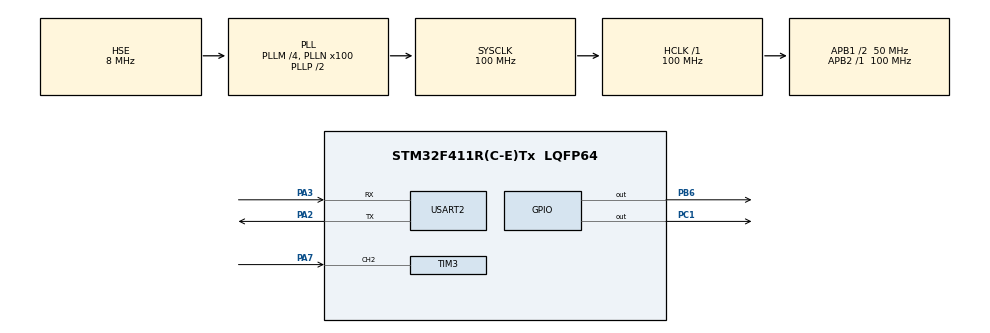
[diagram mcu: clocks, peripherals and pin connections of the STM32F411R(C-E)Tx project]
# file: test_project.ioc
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Mcu.Family=STM32F4
Mcu.Name=STM32F411R(C-E)Tx
Mcu.Package=LQFP64
NVIC.PriorityGroup=NVIC_PRIORITYGROUP_4
NVIC.TIM3_IRQn=true\:0\:0\:false\:false\:true\:true\:true\:true
PA13.Mode=Serial_Wire
PA13.Signal=SYS_JTMS-SWDIO
PA14.Mode=Serial_Wire
PA14.Signal=SYS_JTCK-SWCLK
PA2.Mode=Asynchronous
PA2.Signal=USART2_TX
PA3.Mode=Asynchronous
PA3.Signal=USART2_RX
PA7.Signal=S_TIM3_CH2
PB6.GPIO_Speed=GPIO_SPEED_FREQ_HIGH
PB6.Signal=GPIO_Output
PC1.Signal=GPIO_Output
PH0\ -\ OSC_IN.Mode=HSE-External-Clock-Source
PH0\ -\ OSC_IN.Signal=RCC_OSC_IN
PH1\ -\ OSC_OUT.Mode=HSE-External-Clock-Source
PH1\ -\ OSC_OUT.Signal=RCC_OSC_OUT
ProjectManager.HeapSize=0x200
ProjectManager.StackSize=0x400
ProjectManager.TargetToolchain=STM32CubeIDE
RCC.48MHZClocksFreq_Value=50000000
RCC.AHBFreq_Value=100000000
RCC.APB1CLKDivider=RCC_HCLK_DIV2
RCC.APB1Freq_Value=50000000
RCC.APB1TimFreq_Value=100000000
RCC.APB2Freq_Value=100000000
RCC.APB2TimFreq_Value=100000000
RCC.CortexFreq_Value=100000000
RCC.HCLKFreq_Value=100000000
RCC.HSE_VALUE=8000000
RCC.HSI_VALUE=16000000
RCC.LSE_VALUE=32768
RCC.PLLM=4
RCC.PLLN=100
RCC.PLLSourceVirtual=RCC_PLLSOURCE_HSE
RCC.SYSCLKFreq_VALUE=100000000
RCC.SYSCLKSource=RCC_SYSCLKSOURCE_PLLCLK
RCC.VCOOutputFreq_Value=200000000
SH.S_TIM3_CH2.0=TIM3_CH2,Input_Capture2_from_TI2
TIM10.Prescaler=100-1
TIM3.Channel-Input_Capture2_from_TI2=TIM_CHANNEL_2
TIM3.Prescaler=100-1
TIM5.Prescaler=100-1
USART2.VirtualMode=VM_ASYNC
VP_TIM10_VS_ClockSourceINT.Mode=Enable_Timer
VP_TIM3_VS_ClockSourceINT.Mode=Internal
VP_TIM5_VS_ClockSourceINT.Mode=Internal
board=custom

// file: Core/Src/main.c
/* USER CODE BEGIN Header */
/**
  ******************************************************************************
  * @file           : main.c
  * @brief          : Main program body
  ******************************************************************************
  * @attention
  *
  * Copyright (c) 2025 STMicroelectronics.
  * All rights reserved.
  *
  * This software is licensed under terms that can be found in the LICENSE file
  * in the root directory of this software component.
  * If no LICENSE file comes with this software, it is provided AS-IS.
  *
  ******************************************************************************
  */
/* USER CODE END Header */
#include "main.h"
#include "tim.h"
#include "usart.h"
#include "gpio.h"

/* USER CODE BEGIN Includes */
#include "stdio.h"
/* USER CODE END Includes */

/* USER CODE BEGIN PM */
#define TRIG_PORT 	GPIOB
#define TRIG_PIN	GPIO_PIN_6

void HCSR04_Read(void);
/* USER CODE END PM */

/* USER CODE BEGIN PV */
static uint16_t IC_Value1 = 0;	// Rising Edge
static uint16_t IC_Value2 = 0;	// Falling Edge
static uint16_t echoTime = 0;	// width
static volatile uint8_t captureFlag = 0;
uint8_t distance_cm = 0;

void HCSR04_Read(void)
{
	HAL_GPIO_WritePin(TRIG_PORT, TRIG_PIN, RESET);
	delay_us(1);

	HAL_GPIO_WritePin(TRIG_PORT, TRIG_PIN, SET);
	delay_us(10);
	HAL_GPIO_WritePin(TRIG_PORT, TRIG_PIN, RESET);

	__HAL_TIM_ENABLE_IT(&htim3, TIM_IT_CC2);
}

void HAL_TIM_IC_CaptureCallback(TIM_HandleTypeDef *htim)
{
  if (htim->Channel == HAL_TIM_ACTIVE_CHANNEL_2)
  {
  	if (captureFlag == 0)
  	{
  		IC_Value1 = HAL_TIM_ReadCapturedValue(&htim3, TIM_CHANNEL_2);
  		captureFlag = 1;

  		__HAL_TIM_SET_CAPTUREPOLARITY(&htim3, TIM_CHANNEL_2, TIM_INPUTCHANNELPOLARITY_FALLING);
  	}
  	else if (captureFlag == 1)
  	{
  		IC_Value2 = HAL_TIM_ReadCapturedValue(&htim3, TIM_CHANNEL_2);
  		__HAL_TIM_SET_COUNTER(&htim3, 0);

  		if (IC_Value2 > IC_Value1)
  		{
  			echoTime = IC_Value2 - IC_Value1;
  		}
  		else
  		{
  			echoTime = (0xFFFF - IC_Value1) + IC_Value2;
  		}
  		distance_cm = echoTime / 58;
  		captureFlag = 0;
  		__HAL_TIM_SET_CAPTUREPOLARITY(&htim3, TIM_CHANNEL_2, TIM_INPUTCHANNELPOLARITY_RISING);
  		__HAL_TIM_DISABLE_IT(&htim3, TIM_IT_CC2);
  	}
  }
}
uint8_t txData[12];
uint8_t x = 0;
uint8_t y = 0;
void delay_ms1()
{
	static uint32_t prev_time = 0xFFFFFFFF;
	uint32_t curr_time = HAL_GetTick();

	if (prev_time == 0xFFFFFFFF)
	{
		prev_time = HAL_GetTick();
	}

	if (curr_time - prev_time > 1000)
	{
		sprintf((char*)txData, "x : %d\r\n", x++);
		HAL_UART_Transmit(&huart2, txData, sizeof(txData), 100);
		prev_time = 0xFFFFFFFF;
	}
}

void delay_ms2()
{
	static uint32_t prev_time = 0xFFFFFFFF;
	uint32_t curr_time = HAL_GetTick();

	if (prev_time == 0xFFFFFFFF)
	{
		prev_time = HAL_GetTick();
	}

	if (curr_time - prev_time > 2000)
	{
		sprintf((char*)txData, "y : %d\r\n", y++);
		HAL_UART_Transmit(&huart2, txData, sizeof(txData), 100);
		prev_time = 0xFFFFFFFF;
	}
}
void delay_us()
{
	static uint32_t prev_time = 0xFFFFFFFF;
	uint32_t curr_time = __HAL_TIM_GET_COUNTER(&htim5);

	if (prev_time == 0xFFFFFFFF)
	{
		prev_time = __HAL_TIM_GET_COUNTER(&htim5);
	}

	if (curr_time - prev_time > 10)
	{
		HAL_GPIO_TogglePin(GPIOC, GPIO_PIN_1);
		prev_time = 0xFFFFFFFF;
	}
}
/* USER CODE END PV */

void SystemClock_Config(void);

int main(void)
{

  /* MCU Configuration--------------------------------------------------------*/

  /* Reset of all peripherals, Initializes the Flash interface and the Systick. */
  HAL_Init();

  /* Configure the system clock */
  SystemClock_Config();

  /* Initialize all configured peripherals */
  MX_GPIO_Init();
  MX_TIM3_Init();
  MX_TIM10_Init();
  MX_USART2_UART_Init();
  MX_TIM5_Init();
  /* USER CODE BEGIN 2 */
  HAL_TIM_Base_Start(&htim5);
  HAL_TIM_IC_Start_IT(&htim3, TIM_CHANNEL_2);
  /* USER CODE END 2 */

  /* Infinite loop */
  /* USER CODE BEGIN WHILE */
  while (1)
  {
	  delay_us();
    /* USER CODE END WHILE */

  }
}

void SystemClock_Config(void)
{
  RCC_OscInitTypeDef RCC_OscInitStruct = {0};
  RCC_ClkInitTypeDef RCC_ClkInitStruct = {0};

  /** Configure the main internal regulator output voltage
  */
  __HAL_RCC_PWR_CLK_ENABLE();
  __HAL_PWR_VOLTAGESCALING_CONFIG(PWR_REGULATOR_VOLTAGE_SCALE1);

  /** Initializes the RCC Oscillators according to the specified parameters
  * in the RCC_OscInitTypeDef structure.
  */
  RCC_OscInitStruct.OscillatorType = RCC_OSCILLATORTYPE_HSE;
  RCC_OscInitStruct.HSEState = RCC_HSE_BYPASS;
  RCC_OscInitStruct.PLL.PLLState = RCC_PLL_ON;
  RCC_OscInitStruct.PLL.PLLSource = RCC_PLLSOURCE_HSE;
  RCC_OscInitStruct.PLL.PLLM = 4;
  RCC_OscInitStruct.PLL.PLLN = 100;
  RCC_OscInitStruct.PLL.PLLP = RCC_PLLP_DIV2;
  RCC_OscInitStruct.PLL.PLLQ = 4;
  if (HAL_RCC_OscConfig(&RCC_OscInitStruct) != HAL_OK)
  {
    Error_Handler();
  }

  /** Initializes the CPU, AHB and APB buses clocks
  */
  RCC_ClkInitStruct.ClockType = RCC_CLOCKTYPE_HCLK|RCC_CLOCKTYPE_SYSCLK
                              |RCC_CLOCKTYPE_PCLK1|RCC_CLOCKTYPE_PCLK2;
  RCC_ClkInitStruct.SYSCLKSource = RCC_SYSCLKSOURCE_PLLCLK;
  RCC_ClkInitStruct.AHBCLKDivider = RCC_SYSCLK_DIV1;
  RCC_ClkInitStruct.APB1CLKDivider = RCC_HCLK_DIV2;
  RCC_ClkInitStruct.APB2CLKDivider = RCC_HCLK_DIV1;

  if (HAL_RCC_ClockConfig(&RCC_ClkInitStruct, FLASH_LATENCY_3) != HAL_OK)
  {
    Error_Handler();
  }
}

void Error_Handler(void)
{
  __disable_irq();
  while (1)
  {
  }
}
